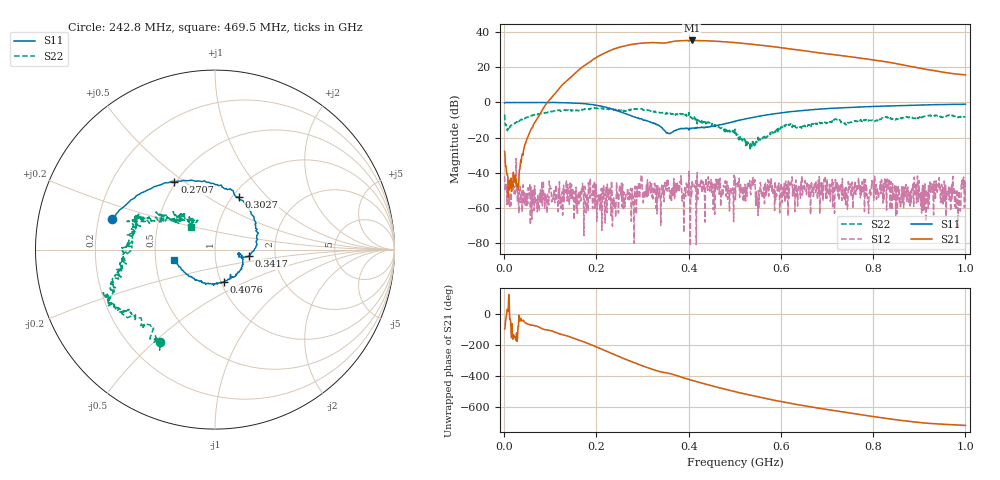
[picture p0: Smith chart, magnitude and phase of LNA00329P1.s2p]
! Created with skrf 1.9.0 (http://scikit-rf.org).
# Hz S RI R 50.0
!freq ReS11 ImS11 ReS21 ImS21 ReS12 ImS12 ReS22 ImS22
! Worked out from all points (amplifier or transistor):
!   1001 points, 1 MHz to 1 GHz, reference 50 ohm
!   highest |S21| = 35.2 dB at 406.6 MHz (marker M1)
!   |S21| within 3 dB of that: 263.4 MHz to 566 MHz (302.5 MHz wide, 72.9 % of centre)
!   unconditionally stable (mu >= 1): start of sweep to 78.4 MHz; 310.8 MHz to 400.4 MHz; 400.8 MHz to end of sweep (the widest 3 of 34)
!   at 166.8 MHz: K = 2.27, MAG = 31.2 dB, |S12| = -55.6 dB
!   at 500.5 MHz: K = 1.35, MAG = 34.5 dB, |S12| = -42.1 dB
!   at 1 GHz: K = 8.25, MAG = 23.7 dB, |S12| = -56.0 dB
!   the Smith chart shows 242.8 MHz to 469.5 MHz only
!   S11 on the Smith chart (normalised r, x): 242.8 MHz: 0.26, +0.14; 270.7 MHz: 0.49, +0.46; 302.7 MHz: 1.07, +0.70; 341.7 MHz: 1.47, -0.11; 407.6 MHz: 1.03, -0.38; 469.5 MHz: 0.62, -0.07
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1000000  0.9671 -0.00679  -0.0068 -0.04  -0.00278 -0.00756  0.3388 0.3033
1.08892e8  0.5071 -0.8539  -0.7972 -1.51  0.00195 -0.00292  0.4373 -0.374
1.67833e8  -0.254 -0.8969  -9.734 -0.6175  -0.00359 -0.00143  0.058 -0.6278
2.09791e8  -0.6942 -0.3736  -15.58 16.21  -0.000673 -0.000641  -0.1845 -0.6654
2.42758e8  -0.5731 0.1696  -0.8948 34.53  -0.00154 0.00116  -0.3058 -0.5145
2.7073e8  -0.2261 0.3779  23.19 36.13  -0.000667 -0.00158  -0.5207 -0.3549
3.02698e8  0.1317 0.2917  45.18 17.93  -0.00194 0.00106  -0.583 -0.2221
3.34666e8  0.2261 0.00977  48.76 -8.797  6.04e-06 0.00184  -0.5292 -0.0751
3.41659e8  0.1903 -0.0356  47.15 -12.99  0.00247 0.00376  -0.5115 -0.0584
3.71629e8  0.1527 -0.0463  44.76 -32.87  -0.00276 -0.00102  -0.4153 0.1313
4.06594e8  0.0596 -0.175  21.44 -53.66  -0.000309 0.00197  -0.3281 0.1816
4.07593e8  0.0474 -0.1806  20.35 -53.78  0.00424 0.00445  -0.312 0.1506
4.37563e8  -0.1075 -0.1711  -4.184 -56.33  0.00291 0.00654  -0.1904 0.158
4.69531e8  -0.2286 -0.0564  -25.84 -47.25  -0.00069 0.000882  -0.1355 0.1246
5.005e8  -0.2622 0.1082  -39.47 -31.33  -0.00658 -0.00434  -0.137 0.107
5.39461e8  -0.1977 0.3215  -43.75 -9.348  0.00741 0.000905  -0.0773 -0.000571
5.88412e8  0.00804 0.4823  -35.77 12  0.00119 -0.00123  -0.1181 -0.0807
6.25375e8  0.1858 0.5254  -25.26 20.43  0.00218 -0.000233  -0.1943 -0.1188
6.67333e8  0.3862 0.4914  -13.35 23.81  -0.000573 -0.00275  -0.2399 -0.0574
7.53247e8  0.6661 0.2859  3.509 19.33  -0.00321 -0.00193  -0.2742 0.00383
8.34166e8  0.7948 0.0269  9.886 9.673  0.00605 -0.0017  -0.3643 0.0262
1e9  0.733 -0.5178  6.097 0.1569  -0.00053 0.00149  -0.2351 0.3087
